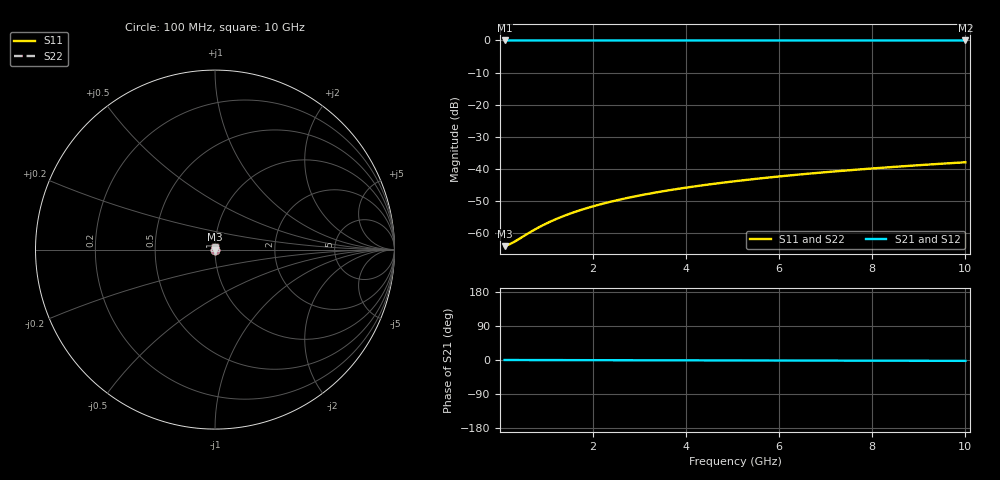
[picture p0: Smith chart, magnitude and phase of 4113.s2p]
# Hz S RI R 50.00
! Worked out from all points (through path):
!   100 points, 100 MHz to 10 GHz, reference 50 ohm
!   highest |S21| = -0.01 dB at 100 MHz (marker M1); lowest = 0.0 dB at 10 GHz (marker M2)
!   lowest |S11| = -64.1 dB at 100 MHz (marker M3), VSWR 1.00, Z = 50.1 + j0.0127 ohm
!   |S11| at or under -10 dB: start of sweep to end of sweep
!   |S22| runs from -64.1 to -37.9 dB; largest |S21 - S12| = 0
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1e8  0.000614 0.000127  0.9994 -0.000396  0.9994 -0.000396  0.000614 0.000127
2e8  0.000619 0.000253  0.9994 -0.000793  0.9994 -0.000793  0.000619 0.000253
3e8  0.000622 0.00038  0.9994 -0.00119  0.9994 -0.00119  0.000622 0.00038
7e8  0.000631 0.000886  0.9994 -0.00277  0.9994 -0.00277  0.000631 0.000886
8e8  0.000633 0.00101  0.9994 -0.00317  0.9994 -0.00317  0.000633 0.00101
1e9  0.000638 0.00127  0.9994 -0.00396  0.9994 -0.00396  0.000638 0.00127
1.2e9  0.000642 0.00152  0.9993 -0.00476  0.9993 -0.00476  0.000642 0.00152
1.4e9  0.000647 0.00177  0.9993 -0.00555  0.9993 -0.00555  0.000647 0.00177
1.6e9  0.000652 0.00202  0.9993 -0.00634  0.9993 -0.00634  0.000652 0.00202
1.8e9  0.000657 0.00228  0.9993 -0.00713  0.9993 -0.00713  0.000657 0.00228
2.1e9  0.000665 0.00266  0.9993 -0.00832  0.9993 -0.00832  0.000665 0.00266
2.5e9  0.000677 0.00316  0.9993 -0.00991  0.9993 -0.00991  0.000677 0.00316
2.9e9  0.00069 0.00367  0.9993 -0.0115  0.9993 -0.0115  0.00069 0.00367
3.4e9  0.000709 0.0043  0.9992 -0.0135  0.9992 -0.0135  0.000709 0.0043
3.8e9  0.000726 0.00481  0.9992 -0.0151  0.9992 -0.0151  0.000726 0.00481
4.2e9  0.000744 0.00531  0.9992 -0.0166  0.9992 -0.0166  0.000744 0.00531
5.1e9  0.000791 0.00645  0.9991 -0.0202  0.9991 -0.0202  0.000791 0.00645
5.9e9  0.000839 0.00746  0.999 -0.0234  0.999 -0.0234  0.000839 0.00746
6.7e9  0.000894 0.00847  0.9989 -0.0266  0.9989 -0.0266  0.000894 0.00847
7.5e9  0.000955 0.00948  0.9988 -0.0297  0.9988 -0.0297  0.000955 0.00948
8.4e9  0.00103 0.0106  0.9987 -0.0333  0.9987 -0.0333  0.00103 0.0106
1e10  0.00119 0.0126  0.9984 -0.0397  0.9984 -0.0397  0.00119 0.0126
